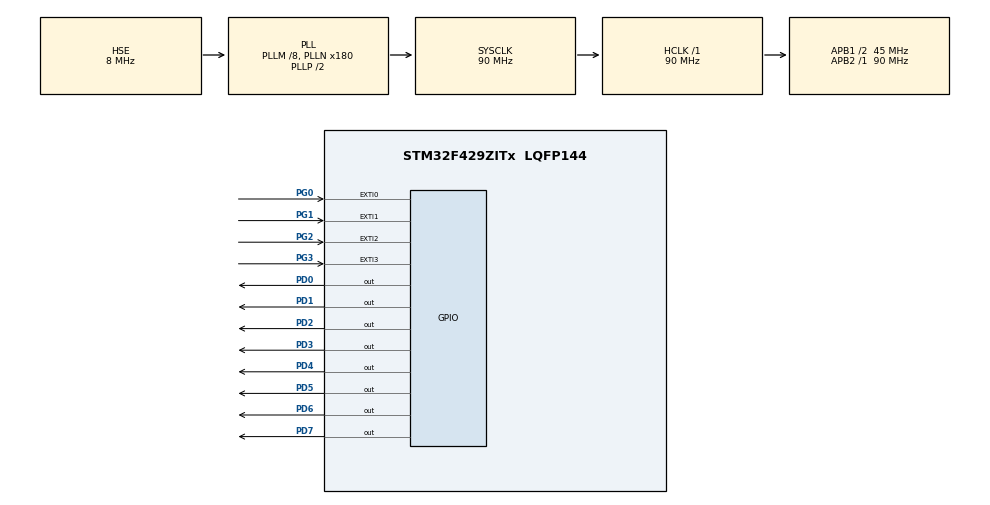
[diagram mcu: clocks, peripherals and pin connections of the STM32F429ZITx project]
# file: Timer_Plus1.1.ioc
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Mcu.Family=STM32F4
Mcu.Name=STM32F429ZITx
Mcu.Package=LQFP144
NVIC.EXTI0_IRQn=true\:0\:0\:false\:false\:true\:true\:true\:true
NVIC.EXTI1_IRQn=true\:0\:0\:false\:false\:true\:true\:true\:true
NVIC.EXTI2_IRQn=true\:0\:0\:false\:false\:true\:true\:true\:true
NVIC.EXTI3_IRQn=true\:0\:0\:false\:false\:true\:true\:true\:true
NVIC.PriorityGroup=NVIC_PRIORITYGROUP_4
NVIC.TIM2_IRQn=true\:0\:0\:false\:false\:true\:true\:true\:true
NVIC.TIM3_IRQn=true\:0\:0\:false\:false\:true\:true\:true\:true
NVIC.TIM4_IRQn=true\:0\:0\:false\:false\:true\:true\:true\:true
PA13.Mode=Serial_Wire
PA13.Signal=SYS_JTMS-SWDIO
PA14.Mode=Serial_Wire
PA14.Signal=SYS_JTCK-SWCLK
PD0.GPIO_ModeDefaultOutputPP=GPIO_MODE_OUTPUT_PP
PD0.GPIO_PuPd=GPIO_PULLUP
PD0.GPIO_Speed=GPIO_SPEED_FREQ_HIGH
PD0.PinState=GPIO_PIN_RESET
PD0.Signal=GPIO_Output
PD1.GPIO_ModeDefaultOutputPP=GPIO_MODE_OUTPUT_PP
PD1.GPIO_PuPd=GPIO_PULLUP
PD1.GPIO_Speed=GPIO_SPEED_FREQ_HIGH
PD1.PinState=GPIO_PIN_RESET
PD1.Signal=GPIO_Output
PD2.GPIO_ModeDefaultOutputPP=GPIO_MODE_OUTPUT_PP
PD2.GPIO_PuPd=GPIO_PULLUP
PD2.GPIO_Speed=GPIO_SPEED_FREQ_HIGH
PD2.PinState=GPIO_PIN_RESET
PD2.Signal=GPIO_Output
PD3.GPIO_ModeDefaultOutputPP=GPIO_MODE_OUTPUT_PP
PD3.GPIO_PuPd=GPIO_PULLUP
PD3.GPIO_Speed=GPIO_SPEED_FREQ_HIGH
PD3.PinState=GPIO_PIN_RESET
PD3.Signal=GPIO_Output
PD4.GPIO_ModeDefaultOutputPP=GPIO_MODE_OUTPUT_PP
PD4.GPIO_PuPd=GPIO_PULLUP
PD4.GPIO_Speed=GPIO_SPEED_FREQ_HIGH
PD4.PinState=GPIO_PIN_RESET
PD4.Signal=GPIO_Output
PD5.GPIO_ModeDefaultOutputPP=GPIO_MODE_OUTPUT_PP
PD5.GPIO_PuPd=GPIO_PULLUP
PD5.GPIO_Speed=GPIO_SPEED_FREQ_HIGH
PD5.PinState=GPIO_PIN_RESET
PD5.Signal=GPIO_Output
PD6.GPIO_ModeDefaultOutputPP=GPIO_MODE_OUTPUT_PP
PD6.GPIO_PuPd=GPIO_PULLUP
PD6.GPIO_Speed=GPIO_SPEED_FREQ_HIGH
PD6.PinState=GPIO_PIN_RESET
PD6.Signal=GPIO_Output
PD7.GPIO_ModeDefaultOutputPP=GPIO_MODE_OUTPUT_PP
PD7.GPIO_PuPd=GPIO_PULLUP
PD7.GPIO_Speed=GPIO_SPEED_FREQ_HIGH
PD7.PinState=GPIO_PIN_RESET
PD7.Signal=GPIO_Output
PG0.GPIO_ModeDefaultEXTI=GPIO_MODE_IT_FALLING
PG0.GPIO_PuPd=GPIO_NOPULL
PG0.Signal=GPXTI0
PG1.GPIO_ModeDefaultEXTI=GPIO_MODE_IT_FALLING
PG1.GPIO_PuPd=GPIO_NOPULL
PG1.Signal=GPXTI1
PG2.GPIO_ModeDefaultEXTI=GPIO_MODE_IT_FALLING
PG2.GPIO_PuPd=GPIO_NOPULL
PG2.Signal=GPXTI2
PG3.GPIO_ModeDefaultEXTI=GPIO_MODE_IT_FALLING
PG3.GPIO_PuPd=GPIO_NOPULL
PG3.Signal=GPXTI3
PH0/OSC_IN.Mode=HSE-External-Clock-Source
PH0/OSC_IN.Signal=RCC_OSC_IN
PH1/OSC_OUT.Mode=HSE-External-Clock-Source
PH1/OSC_OUT.Signal=RCC_OSC_OUT
ProjectManager.HeapSize=0x200
ProjectManager.StackSize=0x400
ProjectManager.TargetToolchain=STM32CubeIDE
RCC.48MHZClocksFreq_Value=45000000
RCC.AHBFreq_Value=90000000
RCC.APB1CLKDivider=RCC_HCLK_DIV2
RCC.APB1Freq_Value=45000000
RCC.APB1TimFreq_Value=90000000
RCC.APB2Freq_Value=90000000
RCC.APB2TimFreq_Value=90000000
RCC.CortexFreq_Value=90000000
RCC.HCLKFreq_Value=90000000
RCC.HSE_VALUE=8000000
RCC.HSI_VALUE=16000000
RCC.LSE_VALUE=32768
RCC.PLLM=8
RCC.PLLN=180
RCC.PLLSourceVirtual=RCC_PLLSOURCE_HSE
RCC.SYSCLKFreq_VALUE=90000000
RCC.SYSCLKSource=RCC_SYSCLKSOURCE_PLLCLK
RCC.VCOOutputFreq_Value=180000000
TIM2.Period=999
TIM2.Prescaler=8999
TIM3.Period=4999
TIM3.Prescaler=8999
TIM4.Period=9999
TIM4.Prescaler=8999
VP_TIM2_VS_ClockSourceINT.Mode=Internal
VP_TIM3_VS_ClockSourceINT.Mode=Internal
VP_TIM4_VS_ClockSourceINT.Mode=Internal
board=custom

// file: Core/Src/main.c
/* USER CODE BEGIN Header */
/**
  ******************************************************************************
  * @file           : main.c
  * @brief          : Main program body
  ******************************************************************************
  * @attention
  *
  * Copyright (c) 2022 STMicroelectronics.
  * All rights reserved.
  *
  * This software is licensed under terms that can be found in the LICENSE file
  * in the root directory of this software component.
  * If no LICENSE file comes with this software, it is provided AS-IS.
  *
  ******************************************************************************
  */
/* USER CODE END Header */
#include "main.h"

TIM_HandleTypeDef htim2;
TIM_HandleTypeDef htim3;
TIM_HandleTypeDef htim4;

void SystemClock_Config(void);
static void MX_GPIO_Init(void);
static void MX_TIM2_Init(void);
static void MX_TIM3_Init(void);
static void MX_TIM4_Init(void);
/* USER CODE BEGIN PFP */
void LED_OnOff(int, int);
int speed = 0;
/* USER CODE END PFP */

int main(void)
{

  /* MCU Configuration--------------------------------------------------------*/

  /* Reset of all peripherals, Initializes the Flash interface and the Systick. */
  HAL_Init();

  /* Configure the system clock */
  SystemClock_Config();

  /* Initialize all configured peripherals */
  MX_GPIO_Init();
  MX_TIM2_Init();
  MX_TIM3_Init();
  MX_TIM4_Init();
  /* USER CODE BEGIN 2 */
  LED_OnOff(LED_ALL, 500);
  HAL_TIM_Base_Start_IT(&htim2);
  HAL_TIM_Base_Start_IT(&htim3);
  HAL_TIM_Base_Start_IT(&htim4);
  /* USER CODE END 2 */

  /* Infinite loop */
  while (1)
  {

  }
}

void SystemClock_Config(void)
{
  RCC_OscInitTypeDef RCC_OscInitStruct = {0};
  RCC_ClkInitTypeDef RCC_ClkInitStruct = {0};

  /** Configure the main internal regulator output voltage
  */
  __HAL_RCC_PWR_CLK_ENABLE();
  __HAL_PWR_VOLTAGESCALING_CONFIG(PWR_REGULATOR_VOLTAGE_SCALE3);

  /** Initializes the RCC Oscillators according to the specified parameters
  * in the RCC_OscInitTypeDef structure.
  */
  RCC_OscInitStruct.OscillatorType = RCC_OSCILLATORTYPE_HSE;
  RCC_OscInitStruct.HSEState = RCC_HSE_BYPASS;
  RCC_OscInitStruct.PLL.PLLState = RCC_PLL_ON;
  RCC_OscInitStruct.PLL.PLLSource = RCC_PLLSOURCE_HSE;
  RCC_OscInitStruct.PLL.PLLM = 8;
  RCC_OscInitStruct.PLL.PLLN = 180;
  RCC_OscInitStruct.PLL.PLLP = RCC_PLLP_DIV2;
  RCC_OscInitStruct.PLL.PLLQ = 4;
  if (HAL_RCC_OscConfig(&RCC_OscInitStruct) != HAL_OK)
  {
    Error_Handler();
  }

  /** Activate the Over-Drive mode
  */
  if (HAL_PWREx_EnableOverDrive() != HAL_OK)
  {
    Error_Handler();
  }

  /** Initializes the CPU, AHB and APB buses clocks
  */
  RCC_ClkInitStruct.ClockType = RCC_CLOCKTYPE_HCLK|RCC_CLOCKTYPE_SYSCLK
                              |RCC_CLOCKTYPE_PCLK1|RCC_CLOCKTYPE_PCLK2;
  RCC_ClkInitStruct.SYSCLKSource = RCC_SYSCLKSOURCE_PLLCLK;
  RCC_ClkInitStruct.AHBCLKDivider = RCC_SYSCLK_DIV1;
  RCC_ClkInitStruct.APB1CLKDivider = RCC_HCLK_DIV2;
  RCC_ClkInitStruct.APB2CLKDivider = RCC_HCLK_DIV1;

  if (HAL_RCC_ClockConfig(&RCC_ClkInitStruct, FLASH_LATENCY_2) != HAL_OK)
  {
    Error_Handler();
  }
}

static void MX_TIM2_Init(void)
{

  TIM_ClockConfigTypeDef sClockSourceConfig = {0};
  TIM_MasterConfigTypeDef sMasterConfig = {0};

  htim2.Instance = TIM2;
  htim2.Init.Prescaler = 8999;
  htim2.Init.CounterMode = TIM_COUNTERMODE_UP;
  htim2.Init.Period = 999;
  htim2.Init.ClockDivision = TIM_CLOCKDIVISION_DIV1;
  htim2.Init.AutoReloadPreload = TIM_AUTORELOAD_PRELOAD_DISABLE;
  if (HAL_TIM_Base_Init(&htim2) != HAL_OK)
  {
    Error_Handler();
  }
  sClockSourceConfig.ClockSource = TIM_CLOCKSOURCE_INTERNAL;
  if (HAL_TIM_ConfigClockSource(&htim2, &sClockSourceConfig) != HAL_OK)
  {
    Error_Handler();
  }
  sMasterConfig.MasterOutputTrigger = TIM_TRGO_RESET;
  sMasterConfig.MasterSlaveMode = TIM_MASTERSLAVEMODE_DISABLE;
  if (HAL_TIMEx_MasterConfigSynchronization(&htim2, &sMasterConfig) != HAL_OK)
  {
    Error_Handler();
  }

}

static void MX_TIM3_Init(void)
{

  TIM_ClockConfigTypeDef sClockSourceConfig = {0};
  TIM_MasterConfigTypeDef sMasterConfig = {0};

  htim3.Instance = TIM3;
  htim3.Init.Prescaler = 8999;
  htim3.Init.CounterMode = TIM_COUNTERMODE_UP;
  htim3.Init.Period = 4999;
  htim3.Init.ClockDivision = TIM_CLOCKDIVISION_DIV1;
  htim3.Init.AutoReloadPreload = TIM_AUTORELOAD_PRELOAD_DISABLE;
  if (HAL_TIM_Base_Init(&htim3) != HAL_OK)
  {
    Error_Handler();
  }
  sClockSourceConfig.ClockSource = TIM_CLOCKSOURCE_INTERNAL;
  if (HAL_TIM_ConfigClockSource(&htim3, &sClockSourceConfig) != HAL_OK)
  {
    Error_Handler();
  }
  sMasterConfig.MasterOutputTrigger = TIM_TRGO_RESET;
  sMasterConfig.MasterSlaveMode = TIM_MASTERSLAVEMODE_DISABLE;
  if (HAL_TIMEx_MasterConfigSynchronization(&htim3, &sMasterConfig) != HAL_OK)
  {
    Error_Handler();
  }

}

static void MX_TIM4_Init(void)
{

  TIM_ClockConfigTypeDef sClockSourceConfig = {0};
  TIM_MasterConfigTypeDef sMasterConfig = {0};

  htim4.Instance = TIM4;
  htim4.Init.Prescaler = 8999;
  htim4.Init.CounterMode = TIM_COUNTERMODE_UP;
  htim4.Init.Period = 9999;
  htim4.Init.ClockDivision = TIM_CLOCKDIVISION_DIV1;
  htim4.Init.AutoReloadPreload = TIM_AUTORELOAD_PRELOAD_DISABLE;
  if (HAL_TIM_Base_Init(&htim4) != HAL_OK)
  {
    Error_Handler();
  }
  sClockSourceConfig.ClockSource = TIM_CLOCKSOURCE_INTERNAL;
  if (HAL_TIM_ConfigClockSource(&htim4, &sClockSourceConfig) != HAL_OK)
  {
    Error_Handler();
  }
  sMasterConfig.MasterOutputTrigger = TIM_TRGO_RESET;
  sMasterConfig.MasterSlaveMode = TIM_MASTERSLAVEMODE_DISABLE;
  if (HAL_TIMEx_MasterConfigSynchronization(&htim4, &sMasterConfig) != HAL_OK)
  {
    Error_Handler();
  }

}

static void MX_GPIO_Init(void)
{
  GPIO_InitTypeDef GPIO_InitStruct = {0};

  /* GPIO Ports Clock Enable */
  __HAL_RCC_GPIOH_CLK_ENABLE();
  __HAL_RCC_GPIOG_CLK_ENABLE();
  __HAL_RCC_GPIOA_CLK_ENABLE();
  __HAL_RCC_GPIOD_CLK_ENABLE();

  /*Configure GPIO pin Output Level */
  HAL_GPIO_WritePin(GPIOD, GPIO_PIN_0|GPIO_PIN_1|GPIO_PIN_2|GPIO_PIN_3
                          |GPIO_PIN_4|GPIO_PIN_5|GPIO_PIN_6|GPIO_PIN_7, GPIO_PIN_RESET);

  /*Configure GPIO pins : PG0 PG1 PG2 PG3 */
  GPIO_InitStruct.Pin = GPIO_PIN_0|GPIO_PIN_1|GPIO_PIN_2|GPIO_PIN_3;
  GPIO_InitStruct.Mode = GPIO_MODE_IT_FALLING;
  GPIO_InitStruct.Pull = GPIO_NOPULL;
  HAL_GPIO_Init(GPIOG, &GPIO_InitStruct);

  /*Configure GPIO pins : PD0 PD1 PD2 PD3
                           PD4 PD5 PD6 PD7 */
  GPIO_InitStruct.Pin = GPIO_PIN_0|GPIO_PIN_1|GPIO_PIN_2|GPIO_PIN_3
                          |GPIO_PIN_4|GPIO_PIN_5|GPIO_PIN_6|GPIO_PIN_7;
  GPIO_InitStruct.Mode = GPIO_MODE_OUTPUT_PP;
  GPIO_InitStruct.Pull = GPIO_PULLUP;
  GPIO_InitStruct.Speed = GPIO_SPEED_FREQ_HIGH;
  HAL_GPIO_Init(GPIOD, &GPIO_InitStruct);

  /* EXTI interrupt init*/
  HAL_NVIC_SetPriority(EXTI0_IRQn, 0, 0);
  HAL_NVIC_EnableIRQ(EXTI0_IRQn);

  HAL_NVIC_SetPriority(EXTI1_IRQn, 0, 0);
  HAL_NVIC_EnableIRQ(EXTI1_IRQn);

  HAL_NVIC_SetPriority(EXTI2_IRQn, 0, 0);
  HAL_NVIC_EnableIRQ(EXTI2_IRQn);

  HAL_NVIC_SetPriority(EXTI3_IRQn, 0, 0);
  HAL_NVIC_EnableIRQ(EXTI3_IRQn);

}

/* USER CODE BEGIN 4 */
void LED_OnOff(int led, int interval){
   HAL_GPIO_WritePin(GPIO_LED, led, GPIO_PIN_SET);
   HAL_GPIO_WritePin(GPIO_LED_Nucleo, led, GPIO_PIN_SET);

   HAL_Delay(interval);

   HAL_GPIO_WritePin(GPIO_LED, led, GPIO_PIN_RESET);
   HAL_GPIO_WritePin(GPIO_LED_Nucleo, led, GPIO_PIN_RESET);
}
void HAL_TIM_PeriodElapsedCallback(TIM_HandleTypeDef *htim)
{
	if (htim -> Instance == TIM2) HAL_GPIO_TogglePin(GPIO_LED, LED1 | LED2);
	else if (htim -> Instance == TIM3) HAL_GPIO_TogglePin(GPIO_LED, LED3 | LED4);
	else if (htim -> Instance == TIM4) HAL_GPIO_TogglePin(GPIO_LED, LED5 | LED6);
}
/* USER CODE END 4 */

void Error_Handler(void)
{
  __disable_irq();
  while (1)
  {
  }
}
